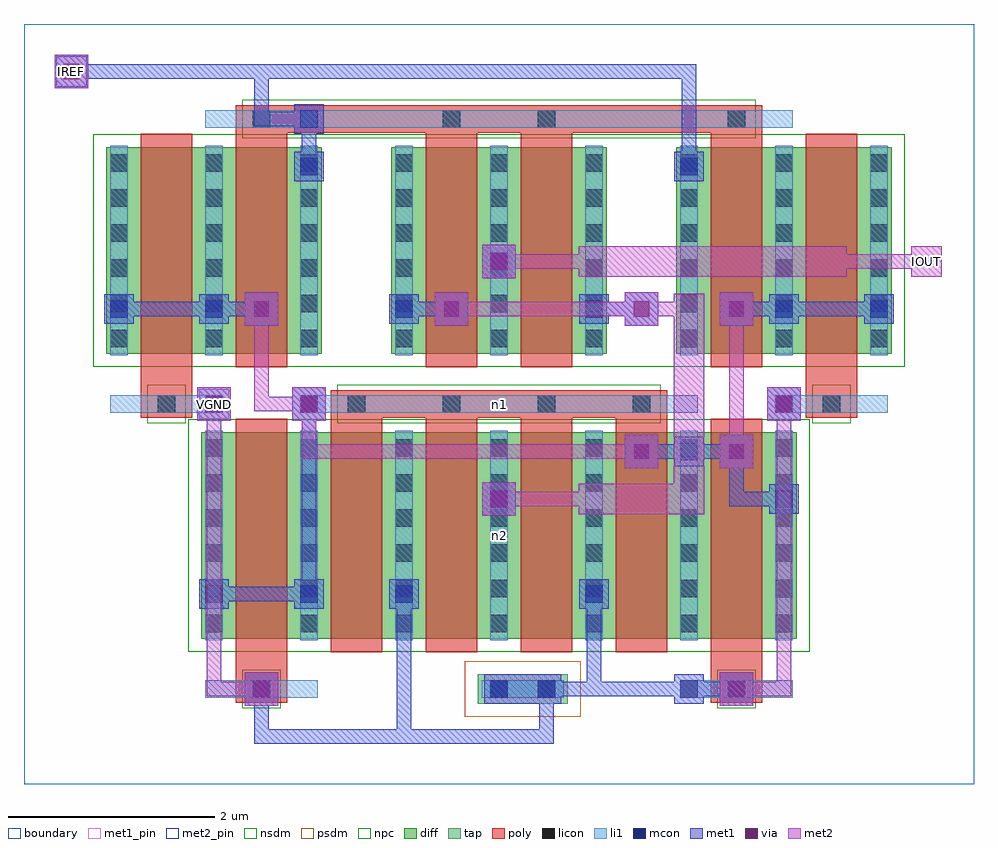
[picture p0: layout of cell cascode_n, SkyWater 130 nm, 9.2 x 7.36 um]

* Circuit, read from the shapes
.subckt cascode_n IOUT IREF VGND n1 n2
XM1 n1 VGND n1 VGND sky130_fd_pr__nfet_01v8 w=2 l=0.5 m=4
XM2 IREF IREF n1 VGND sky130_fd_pr__nfet_01v8 w=2 l=0.5 m=2
XM3 VGND n1 n1 VGND sky130_fd_pr__nfet_01v8 w=2 l=0.5 m=2
XM4 n2 n1 VGND VGND sky130_fd_pr__nfet_01v8 w=2 l=0.5 m=2
XM5 IOUT IREF n2 VGND sky130_fd_pr__nfet_01v8 w=2 l=0.5 m=2
.ends

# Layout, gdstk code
import gdstk
lib = gdstk.Library(unit=1e-6, precision=1e-09)
def R(c, l, rs):  # rectangles x0, y0, x1, y1
    for r in rs: c.add(gdstk.rectangle(r[:2], r[2:], *l))
def A(c, l, x, y, w, h, nx, ny, dx, dy):  # array of equal rectangles
    R(c, l, [(x+i*dx, y+j*dy, x+i*dx+w, y+j*dy+h) for i in range(nx) for j in range(ny)])
diff = (65, 20)
tap = (65, 44)
poly = (66, 20)
licon = (66, 44)
li1 = (67, 20)
mcon = (67, 44)
met1_pin = (68, 16)
met1 = (68, 20)
via = (68, 44)
met2_pin = (69, 16)
met2 = (69, 20)
nsdm = (93, 44)
psdm = (94, 20)
npc = (95, 20)
boundary = (235, 4)

cascode_n = lib.new_cell('cascode_n')
A(cascode_n, diff, 0.795, 4.165, 2.09, 2, 3, 1, 2.76, 0)
R(cascode_n, diff, [(1.715,1.405,7.485,3.405)])
R(cascode_n, tap, [(4.395,0.775,5.265,1.065)])
A(cascode_n, poly, 2.97, 1.275, 0.5, 2.405, 4, 1, 0.92, 0)
R(cascode_n, poly, [(2.05,0.785,2.55,1.055), (6.65,0.785,7.15,1.055), (2.05,0.92,2.55,3.535), (6.65,0.92,7.15,3.535), (1.13,3.545,1.63,3.815), (2.97,3.545,6.23,3.815), (7.57,3.545,8.07,3.815), (1.13,3.68,1.63,6.295), (7.57,3.68,8.07,6.295), (2.05,4.035,2.55,6.44), (3.89,4.035,4.39,6.44), (4.81,4.035,5.31,6.44), (6.65,4.035,7.15,6.44), (2.05,6.305,7.15,6.575)])
A(cascode_n, licon, 1.755, 1.47, 0.17, 0.17, 7, 6, 0.92, 0.34)
A(cascode_n, licon, 3.135, 3.595, 0.17, 0.17, 4, 1, 0.92, 0)
A(cascode_n, licon, 0.835, 4.23, 0.17, 0.17, 9, 6, 0.92, 0.34)
R(cascode_n, licon, [(2.215,0.835,2.385,1.005), (4.515,0.835,4.685,1.005), (4.975,0.835,5.145,1.005), (6.815,0.835,6.985,1.005), (1.295,3.595,1.465,3.765), (7.735,3.595,7.905,3.765), (2.215,6.355,2.385,6.525), (4.055,6.355,4.225,6.525), (4.975,6.355,5.145,6.525), (6.815,6.355,6.985,6.525)])
A(cascode_n, li1, 1.755, 1.39, 0.17, 2.03, 7, 1, 0.92, 0)
A(cascode_n, li1, 0.835, 4.15, 0.17, 2.03, 9, 1, 0.92, 0)
R(cascode_n, li1, [(1.755,0.835,2.845,1.005), (4.435,0.835,5.225,1.005), (6.355,0.835,7.445,1.005), (0.835,3.595,1.925,3.765), (2.675,3.595,6.525,3.765), (7.275,3.595,8.365,3.765), (1.755,6.355,7.445,6.525)])
A(cascode_n, mcon, 1.755, 1.755, 0.17, 0.17, 3, 1, 0.92, 0)
A(cascode_n, mcon, 1.755, 4.515, 0.17, 0.17, 4, 1, 1.84, 0)
R(cascode_n, mcon, [(2.215,0.835,2.385,1.005), (4.515,0.835,4.685,1.005), (4.975,0.835,5.145,1.005), (6.355,0.835,6.525,1.005), (5.435,1.755,5.605,1.925), (4.515,2.675,4.685,2.845), (7.275,2.675,7.445,2.845), (6.355,3.135,6.525,3.305), (1.755,3.595,1.925,3.765), (2.675,3.595,2.845,3.765), (7.275,3.595,7.445,3.765), (0.835,4.515,1.005,4.685), (8.195,4.515,8.365,4.685), (4.515,4.975,4.685,5.145), (2.675,5.895,2.845,6.065), (6.355,5.895,6.525,6.065), (2.675,6.355,2.845,6.525)])
R(cascode_n, met1_pin, [(1.695,3.535,1.985,3.825)])
A(cascode_n, met1, 1.695, 1.695, 0.29, 0.29, 3, 1, 0.92, 0)
A(cascode_n, met1, 2.14, 4.44, 0.32, 0.32, 3, 1, 1.84, 0)
A(cascode_n, met1, 1.695, 4.455, 0.29, 0.29, 4, 1, 1.84, 0)
A(cascode_n, met1, 1.77, 4.53, 0.6, 0.14, 3, 1, 1.84, 0)
R(cascode_n, met1, [(2.23,0.39,2.37,0.99), (2.23,0.39,3.75,0.53), (3.61,0.39,5.13,0.53), (3.61,0.39,3.75,1.91), (4.99,0.39,5.13,0.99), (2.14,0.76,2.46,1.08), (6.74,0.76,7.06,1.08), (2.155,0.775,2.445,1.065), (4.455,0.775,5.205,1.065), (6.295,0.775,6.585,1.065), (4.99,0.85,5.59,0.99), (4.99,0.85,5.13,0.99), (5.45,0.85,6.51,0.99), (5.45,0.85,5.59,1.91), (6.37,0.85,6.97,0.99), (5.375,1.695,5.665,1.985), (1.77,1.77,2.83,1.91), (2.69,1.77,2.83,3.75), (4.44,2.6,4.76,2.92), (4.455,2.615,4.745,2.905), (7.215,2.615,7.505,2.905), (6.83,2.69,7.43,2.83), (6.83,2.69,6.97,3.29), (5.82,3.06,6.14,3.38), (6.74,3.06,7.06,3.38), (6.295,3.075,6.585,3.365), (5.91,3.15,6.51,3.29), (6.37,3.15,6.97,3.29), (1.68,3.52,2,3.84), (2.6,3.52,2.92,3.84), (7.2,3.52,7.52,3.84), (1.695,3.535,1.985,3.825), (2.615,3.535,2.905,3.825), (7.215,3.535,7.505,3.825), (6.74,4.44,7.06,4.76), (0.775,4.455,1.065,4.745), (8.135,4.455,8.425,4.745), (0.85,4.53,1.91,4.67), (6.83,4.53,7.43,4.67), (7.29,4.53,8.35,4.67), (4.44,4.9,4.76,5.22), (4.455,4.915,4.745,5.205), (2.615,5.835,2.905,6.125), (6.295,5.835,6.585,6.125), (2.69,5.91,2.83,6.51), (6.37,5.91,6.51,6.97), (2.615,6.295,2.905,6.585), (2.23,6.37,2.83,6.51), (2.23,6.37,2.37,6.97), (0.3,6.74,0.62,7.06), (0.39,6.83,2.37,6.97), (2.23,6.83,6.51,6.97)])
A(cascode_n, via, 2.225, 4.525, 0.15, 0.15, 3, 1, 1.84, 0)
R(cascode_n, via, [(2.225,0.845,2.375,0.995), (6.825,0.845,6.975,0.995), (4.525,2.685,4.675,2.835), (5.905,3.145,6.055,3.295), (6.825,3.145,6.975,3.295), (1.765,3.605,1.915,3.755), (2.685,3.605,2.835,3.755), (7.285,3.605,7.435,3.755), (6.825,4.525,6.975,4.675), (4.525,4.985,4.675,5.135), (0.385,6.825,0.535,6.975)])
R(cascode_n, met2_pin, [(8.59,4.91,8.89,5.21), (0.31,6.75,0.61,7.05)])
A(cascode_n, met2, 2.14, 4.44, 0.32, 0.32, 3, 1, 1.84, 0)
R(cascode_n, met2, [(2.14,0.76,2.46,1.08), (6.74,0.76,7.06,1.08), (1.77,0.85,2.37,0.99), (1.77,0.85,1.91,3.75), (6.83,0.85,7.43,0.99), (7.29,0.85,7.43,3.75), (4.44,2.6,4.76,2.92), (5.37,2.61,6.59,2.91), (6.29,2.61,6.59,4.75), (4.53,2.69,5.59,2.83), (5.82,3.06,6.14,3.38), (6.74,3.06,7.06,3.38), (2.69,3.15,2.83,3.75), (2.69,3.15,6.05,3.29), (6.83,3.15,6.97,4.67), (1.68,3.52,2,3.84), (2.6,3.52,2.92,3.84), (7.2,3.52,7.52,3.84), (2.23,3.61,2.83,3.75), (2.23,3.61,2.37,4.67), (6.74,4.44,7.06,4.76), (4.07,4.53,6.05,4.67), (5.91,4.53,6.51,4.67), (4.44,4.9,4.76,5.22), (5.37,4.91,7.97,5.21), (8.59,4.91,8.89,5.21), (4.53,4.99,5.59,5.13), (7.75,4.99,8.81,5.13), (8.67,4.99,8.81,5.13), (0.3,6.74,0.62,7.06), (0.31,6.75,0.61,7.05), (0.39,6.83,0.53,6.97)])
R(cascode_n, nsdm, [(1.59,1.28,7.61,3.53), (0.67,4.04,8.53,6.29)])
R(cascode_n, psdm, [(4.27,0.65,5.39,1.19)])
R(cascode_n, npc, [(2.115,0.735,2.485,1.105), (6.715,0.735,7.085,1.105), (1.195,3.495,1.565,3.865), (3.035,3.495,6.165,3.865), (7.635,3.495,8.005,3.865), (2.115,6.255,7.085,6.625)])
R(cascode_n, boundary, [(0,0,9.2,7.36)])
cascode_n.add(gdstk.Label('n1', (4.6,3.68), layer=67, texttype=5))
cascode_n.add(gdstk.Label('n2', (4.6,2.405), layer=67, texttype=5))
cascode_n.add(gdstk.Label('VGND', (1.84,3.68), layer=68, texttype=5))
cascode_n.add(gdstk.Label('IREF', (0.46,6.9), layer=69, texttype=5))
cascode_n.add(gdstk.Label('IOUT', (8.74,5.06), layer=69, texttype=5))
cascode_n.add(gdstk.Label('VGND', (1.84,3.68), layer=68, texttype=16))
cascode_n.add(gdstk.Label('IREF', (0.46,6.9), layer=69, texttype=16))
cascode_n.add(gdstk.Label('IOUT', (8.74,5.06), layer=69, texttype=16))

lib.write_gds('cascode_n.gds')
